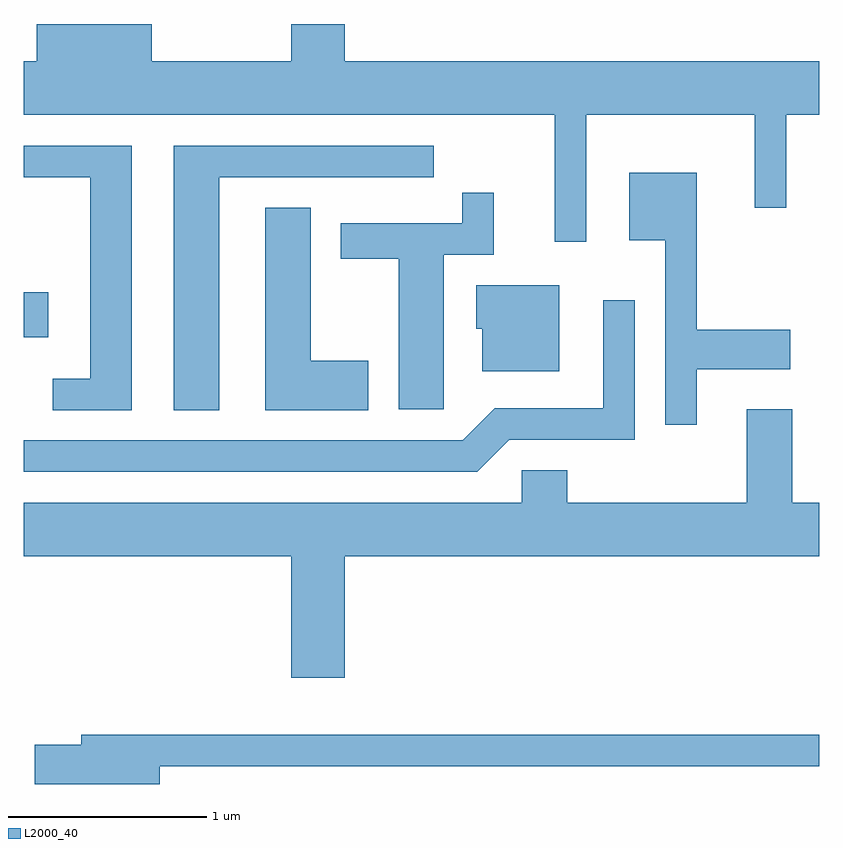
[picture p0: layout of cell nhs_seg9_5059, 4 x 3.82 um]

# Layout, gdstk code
import gdstk
lib = gdstk.Library(unit=1e-6, precision=1e-09)
def R(c, l, rs):  # rectangles x0, y0, x1, y1
    for r in rs: c.add(gdstk.rectangle(r[:2], r[2:], *l))
def P(c, l, *ps):  # polygons
    for p in ps: c.add(gdstk.Polygon(p, *l))
L2000_40 = (2000, 40)

nhs_seg9_5059 = lib.new_cell('nhs_seg9_5059')
R(nhs_seg9_5059, L2000_40, [(333.611,2052.856,333.734,2053.084)])
P(nhs_seg9_5059, L2000_40, [(336.439,2053.976),(337.286,2053.976),(337.286,2053.508),(337.444,2053.508),(337.444,2053.976),(337.611,2053.976),(337.611,2054.244),(335.224,2054.244),(335.224,2054.432),(334.956,2054.432),(334.956,2054.244),(334.254,2054.244),(334.254,2054.432),(333.676,2054.432),(333.676,2054.244),(333.611,2054.244),(333.611,2053.976),(336.281,2053.976),(336.281,2053.338),(336.439,2053.338)],
  [(334.154,2053.819),(333.611,2053.819),(333.611,2053.661),(333.946,2053.661),(333.946,2052.649),(333.758,2052.649),(333.758,2052.491),(334.154,2052.491)],
  [(334.594,2053.661),(335.673,2053.661),(335.673,2053.819),(334.366,2053.819),(334.366,2052.491),(334.594,2052.491)],
  [(336.994,2052.696),(337.464,2052.696),(337.464,2052.894),(336.994,2052.894),(336.994,2053.684),(336.656,2053.684),(336.656,2053.346),(336.836,2053.346),(336.836,2052.418),(336.994,2052.418)],
  [(335.724,2053.271),(335.974,2053.271),(335.974,2053.583),(335.816,2053.583),(335.816,2053.429),(335.206,2053.429),(335.206,2053.251),(335.496,2053.251),(335.496,2052.496),(335.724,2052.496)],
  [(335.344,2052.739),(335.054,2052.739),(335.054,2053.509),(334.826,2053.509),(334.826,2052.491),(335.344,2052.491)],
  [(336.304,2053.119),(335.886,2053.119),(335.886,2052.901),(335.916,2052.901),(335.916,2052.686),(336.304,2052.686)],
  [(336.052,2052.341),(336.684,2052.341),(336.684,2053.043),(336.526,2053.043),(336.526,2052.499),(335.979,2052.499),(335.819,2052.339),(333.611,2052.339),(333.611,2052.181),(335.892,2052.181)],
  [(335.224,2051.756),(337.611,2051.756),(337.611,2052.024),(337.474,2052.024),(337.474,2052.494),(337.246,2052.494),(337.246,2052.024),(336.344,2052.024),(336.344,2052.189),(336.116,2052.189),(336.116,2052.024),(333.611,2052.024),(333.611,2051.756),(334.956,2051.756),(334.956,2051.146),(335.224,2051.146)],
  [(334.294,2050.701),(337.611,2050.701),(337.611,2050.859),(333.901,2050.859),(333.901,2050.809),(333.666,2050.809),(333.666,2050.611),(334.294,2050.611)])

lib.write_gds('nhs_seg9_5059.gds')
